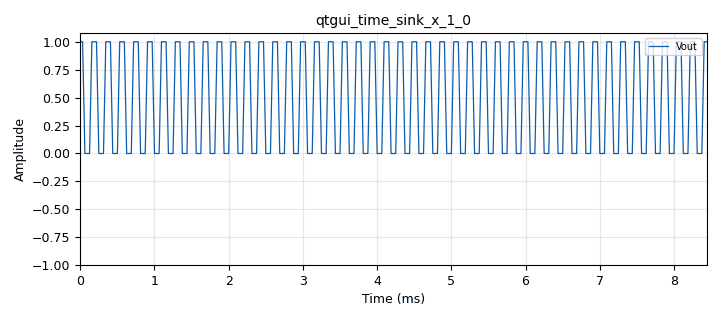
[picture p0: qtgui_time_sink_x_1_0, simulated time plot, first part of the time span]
options:
  parameters:
    generate_options: qt_gui
    id: acumulador
    output_language: python
    title: Not titled yet
  states: {}

blocks:
- name: samp_rate
  id: variable
  parameters:
    value: '32000'
  states: {}
- name: analog_noise_source_x_0
  id: analog_noise_source_x
  parameters:
    amp: '0.1'
    noise_type: analog.GR_GAUSSIAN
    seed: '0'
    type: float
  states: {state: disabled}
- name: analog_sig_source_x_0
  id: analog_sig_source_x
  parameters:
    amp: '1'
    freq: '500'
    offset: '0'
    phase: '0'
    samp_rate: samp_rate
    type: float
    waveform: analog.GR_COS_WAVE
  states: {state: disabled}
- name: blocks_add_xx_0
  id: blocks_add_xx
  parameters:
    type: float
  states: {state: disabled}
- name: blocks_multiply_const_vxx_0
  id: blocks_multiply_const_vxx
  parameters:
    const: '0.1'
    type: float
  states: {state: disabled}
- name: blocks_vector_source_x_0
  id: blocks_vector_source_x
  parameters:
    repeat: 'True'
    type: float
    vector: (1,1,1,1,-1,-1,-1,-1)
  states: {state: disabled}
- name: blocks_vector_source_x_1
  id: blocks_vector_source_x
  parameters:
    repeat: 'True'
    type: float
    vector: (1,1,1,1,-0,0,0,0)
  states: {state: disabled}
- name: blocks_vector_source_x_2
  id: blocks_vector_source_x
  parameters:
    repeat: 'True'
    type: float
    vector: (0,0,0,1 ,1,1)
  states: {}
- name: epy_block_0
  id: epy_block
  parameters:
    _source_code: "\n\nimport numpy as np\nfrom gnuradio import gr\nclass blk (gr. sync_block ):\n    def __init__ ( self ) : \n        gr. sync_block . __init__ (\n            self ,\n            name =\"e_Acum\",\n            in_sig =[ np. float32 ],\n            out_sig =[ np. float32 ]\n        )\n\n    def work (self , input_items , output_items ):\n        x = input_items [0] \n        y0 = output_items [0] \n        y0 [:] = np. cumsum (x)\n        return len (y0)"
  states: {state: disabled}
- name: epy_block_0_0
  id: epy_block
  parameters:
    _source_code: "\n\nimport numpy as np\nfrom gnuradio import gr\nclass blk (gr. sync_block ):\n    def __init__ ( self ) : \n        gr. sync_block . __init__ (\n            self ,\n            name =\"e_Acum\",\n            in_sig =[ np. float32 ],\n            out_sig =[ np. float32 ]\n        )\n\n    def work (self , input_items , output_items ):\n        x = input_items [0] \n        y0 = output_items [0] \n        y0 [:] = np. cumsum (x)\n        return len (y0)"
  states: {state: disabled}
- name: epy_block_1
  id: epy_block
  parameters:
    _source_code: "import numpy as np\nfrom gnuradio import gr\n\nclass blk(gr.sync_block):\n    def __init__(self):  # Solo argumentos por defecto aquí\n        gr.sync_block.__init__(\n            self,\n            name=\"e_Diff\",  # Aparecerá en GRC\n            in_sig=[np.float32],\n            out_sig=[np.float32]\n        )\n        self.acum_anterior = 0  # Estado interno para acumulación\n\n    def work(self, input_items, output_items):\n        x = input_items[0]  # Señal de entrada\n        y0 = output_items[0]  # Señal de salida diferenciada\n        \n        diff = np.diff(np.insert(x, 0, self.acum_anterior))\n        self.acum_anterior = x[-1]  # Guardar último valor para la siguiente iteración\n        \n        y0[:len(diff)] = diff  # Copiar resultado a la salida\n        return len(diff)\n\n\n"
  states: {state: disabled}
- name: epy_block_2
  id: epy_block
  parameters:
    _source_code: |
      import numpy as np
      from gnuradio import gr

      class blk(gr.sync_block):
          def __init__(self):  # solo argumentos por defecto
              gr.sync_block.__init__(
                  self,
                  name="Promedios_de_tiempos",  # aparecerá en GRC
                  in_sig=[np.float32],
                  out_sig=[np.float32, np.float32, np.float32, np.float32, np.float32]
              )
              self.acum_anterior = 0
              self.Ntotales = 0
              self.acum_anterior1 = 0
              self.acum_anterior2 = 0

          def work(self, input_items, output_items):
              x = input_items[0]  # Señal de entrada
              y0 = output_items[0]  # Promedio de la señal
              y1 = output_items[1]  # Media cuadrática de la señal
              y2 = output_items[2]  # RMS de la señal
              y3 = output_items[3]  # Potencia promedio de la señal
              y4 = output_items[4]  # Desviación estándar de la señal

              # Cálculo del promedio
              N = len(x)
              self.Ntotales += N
              acumulado = self.acum_anterior + np.cumsum(x)
              self.acum_anterior = acumulado[-1]
              y0[:] = acumulado / self.Ntotales

              # Cálculo de la media cuadrática
              x2 = np.multiply(x, x)
              acumulado1 = self.acum_anterior1 + np.cumsum(x2)
              self.acum_anterior1 = acumulado1[-1]  # Corregido

              y1[:] = acumulado1 / self.Ntotales  # Media cuadrática correcta

              # Cálculo de la RMS (√media de x²)
              y2[:] = np.sqrt(y1)  # Ahora sí es RMS correcto

              # Cálculo de la potencia promedio (RMS²)
              y3[:] = np.multiply(y2, y2)

              # Cálculo de la desviación estándar
              x3 = np.multiply(x - y0, x - y0)
              acumulado2 = self.acum_anterior2 + np.cumsum(x3)
              self.acum_anterior2 = acumulado2[-1]
              y4[:] = np.sqrt(acumulado2 / self.Ntotales)

              return len(x)
  states: {}
- name: qtgui_number_sink_0_0
  id: qtgui_number_sink
  parameters:
    graph_type: qtgui.NUM_GRAPH_HORIZ
    name: Media
    type: float
  states: {}
- name: qtgui_number_sink_0_1
  id: qtgui_number_sink
  parameters:
    graph_type: qtgui.NUM_GRAPH_HORIZ
    name: Media cuadratica
    type: float
  states: {}
- name: qtgui_number_sink_0_2
  id: qtgui_number_sink
  parameters:
    graph_type: qtgui.NUM_GRAPH_HORIZ
    name: RMS
    type: float
  states: {}
- name: qtgui_number_sink_0_3
  id: qtgui_number_sink
  parameters:
    graph_type: qtgui.NUM_GRAPH_HORIZ
    name: Potencia promedio
    type: float
  states: {}
- name: qtgui_number_sink_0_4
  id: qtgui_number_sink
  parameters:
    graph_type: qtgui.NUM_GRAPH_NONE
    name: Desviacion estandar
    type: float
  states: {}
- name: qtgui_time_sink_x_0
  id: qtgui_time_sink_x
  parameters:
    label1: Vout
    label2: Vin
    nconnections: '2'
    size: '1024'
    srate: samp_rate
    type: float
  states: {state: disabled}
- name: qtgui_time_sink_x_1
  id: qtgui_time_sink_x
  parameters:
    label1: Vout
    label2: Vin
    nconnections: '2'
    size: '1024'
    srate: samp_rate
    type: float
  states: {state: disabled}
- name: qtgui_time_sink_x_1_0
  id: qtgui_time_sink_x
  parameters:
    label1: Vout
    size: '1024'
    srate: samp_rate
    type: float
  states: {}

connections:
- [analog_noise_source_x_0, '0', blocks_add_xx_0, '1']
- [analog_sig_source_x_0, '0', blocks_add_xx_0, '0']
- [blocks_add_xx_0, '0', epy_block_0_0, '0']
- [blocks_vector_source_x_0, '0', epy_block_0, '0']
- [blocks_vector_source_x_0, '0', qtgui_time_sink_x_0, '1']
- [blocks_vector_source_x_1, '0', epy_block_1, '0']
- [blocks_vector_source_x_1, '0', qtgui_time_sink_x_1, '1']
- [blocks_vector_source_x_2, '0', epy_block_2, '0']
- [blocks_vector_source_x_2, '0', qtgui_time_sink_x_1_0, '0']
- [epy_block_0, '0', qtgui_time_sink_x_0, '0']
- [epy_block_0_0, '0', blocks_multiply_const_vxx_0, '0']
- [epy_block_1, '0', qtgui_time_sink_x_1, '0']
- [epy_block_2, '0', qtgui_number_sink_0_0, '0']
- [epy_block_2, '1', qtgui_number_sink_0_1, '0']
- [epy_block_2, '2', qtgui_number_sink_0_2, '0']
- [epy_block_2, '3', qtgui_number_sink_0_3, '0']
- [epy_block_2, '4', qtgui_number_sink_0_4, '0']

metadata:
  file_format: 1
  grc_version: v3.10.11.0-89-ga17f69e7
